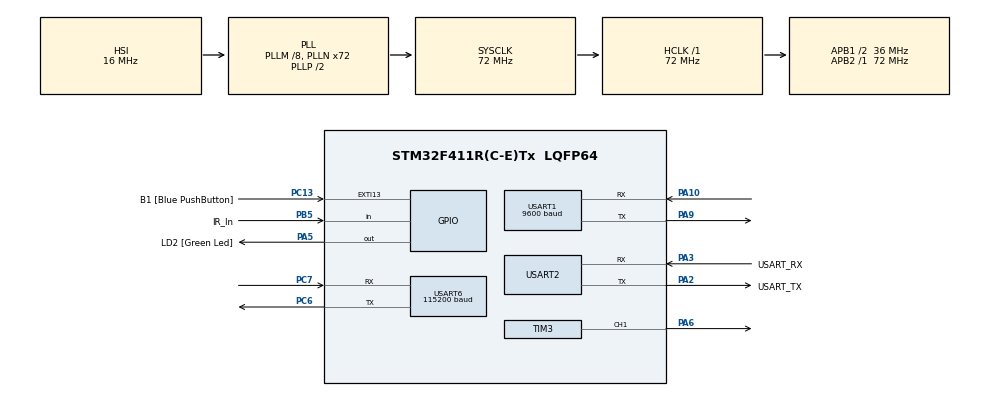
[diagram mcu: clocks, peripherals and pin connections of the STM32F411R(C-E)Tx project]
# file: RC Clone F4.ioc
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Mcu.Family=STM32F4
Mcu.Name=STM32F411R(C-E)Tx
Mcu.Package=LQFP64
NVIC.PriorityGroup=NVIC_PRIORITYGROUP_0
NVIC.TIM3_IRQn=true\:0\:0\:false\:false\:true\:true\:true
NVIC.USART1_IRQn=true\:0\:1\:false\:false\:true\:true\:true
NVIC.USART6_IRQn=true\:0\:0\:false\:false\:true\:true\:true
PA10.Mode=Asynchronous
PA10.Signal=USART1_RX
PA13.GPIO_Label=TMS
PA13.Mode=Serial_Wire
PA13.Signal=SYS_JTMS-SWDIO
PA14.GPIO_Label=TCK
PA14.Mode=Serial_Wire
PA14.Signal=SYS_JTCK-SWCLK
PA2.GPIO_Label=USART_TX
PA2.Mode=Asynchronous
PA2.Signal=USART2_TX
PA3.GPIO_Label=USART_RX
PA3.Mode=Asynchronous
PA3.Signal=USART2_RX
PA5.GPIO_Label=LD2 [Green Led]
PA5.Signal=GPIO_Output
PA6.Signal=S_TIM3_CH1
PA9.Mode=Asynchronous
PA9.Signal=USART1_TX
PB3.GPIO_Label=SWO
PB3.Signal=SYS_JTDO-SWO
PB5.GPIO_Label=IR_In
PB5.Signal=GPIO_Input
PC13-ANTI_TAMP.GPIO_Label=B1 [Blue PushButton]
PC13-ANTI_TAMP.GPIO_ModeDefaultEXTI=GPIO_MODE_IT_FALLING
PC13-ANTI_TAMP.Signal=GPXTI13
PC14-OSC32_IN.Mode=LSE-External-Oscillator
PC14-OSC32_IN.Signal=RCC_OSC32_IN
PC15-OSC32_OUT.Mode=LSE-External-Oscillator
PC15-OSC32_OUT.Signal=RCC_OSC32_OUT
PC6.Mode=Asynchronous
PC6.Signal=USART6_TX
PC7.Mode=Asynchronous
PC7.Signal=USART6_RX
PH0\ -\ OSC_IN.Mode=HSE-External-Clock-Source
PH0\ -\ OSC_IN.Signal=RCC_OSC_IN
PH1\ -\ OSC_OUT.Mode=HSE-External-Clock-Source
PH1\ -\ OSC_OUT.Signal=RCC_OSC_OUT
ProjectManager.HeapSize=0x200
ProjectManager.StackSize=0x400
ProjectManager.TargetToolchain=STM32CubeIDE
RCC.48MHZClocksFreq_Value=36000000
RCC.AHBFreq_Value=72000000
RCC.APB1CLKDivider=RCC_HCLK_DIV2
RCC.APB1Freq_Value=36000000
RCC.APB1TimFreq_Value=72000000
RCC.APB2Freq_Value=72000000
RCC.APB2TimFreq_Value=72000000
RCC.CortexFreq_Value=72000000
RCC.FLatency-AdvancedSettings=FLASH_LATENCY_2
RCC.HCLKFreq_Value=72000000
RCC.HSE_VALUE=8000000
RCC.HSI_VALUE=16000000
RCC.PLLM=8
RCC.PLLN=72
RCC.SYSCLKFreq_VALUE=72000000
RCC.SYSCLKSource=RCC_SYSCLKSOURCE_PLLCLK
RCC.VCOOutputFreq_Value=144000000
SH.S_TIM3_CH1.0=TIM3_CH1,PWM Generation1 CH1
TIM3.Channel-PWM\ Generation1\ CH1=TIM_CHANNEL_1
TIM3.Period=9
TIM3.Prescaler=99
USART1.BaudRate=9600
USART1.VirtualMode=VM_ASYNC
USART2.VirtualMode=VM_ASYNC
USART6.BaudRate=115200
USART6.Parity=PARITY_ODD
USART6.VirtualMode=VM_ASYNC
USART6.WordLength=WORDLENGTH_9B
VP_TIM3_VS_ClockSourceINT.Mode=Internal
board=NUCLEO-F411RE

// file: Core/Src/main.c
/* USER CODE BEGIN Header */
/**
 ******************************************************************************
 * @file           : main.c
 * @brief          : Main program body
 ******************************************************************************
 * @attention
 *
 * <h2><center>&copy; Copyright (c) 2020 STMicroelectronics.
 * All rights reserved.</center></h2>
 *
 * This software component is licensed by ST under BSD 3-Clause license,
 * the "License"; You may not use this file except in compliance with the
 * License. You may obtain a copy of the License at:
 *                        opensource.org/licenses/BSD-3-Clause
 *
 ******************************************************************************
 */
/* USER CODE END Header */

#include "main.h"

/* USER CODE BEGIN Includes */
#include "string.h"
#include <IR_Remote.h>
#include <stdlib.h>
/* USER CODE END Includes */

/* USER CODE BEGIN PD */
#define STR_LEN 300
#define COMMAND_COUNT 11
#define REMOTE_NAME_LEN 20
#define COMMAND_NAME_LEN 10
#define ESP_LEN 3000
/* USER CODE END PD */

TIM_HandleTypeDef htim3;

UART_HandleTypeDef huart1;
UART_HandleTypeDef huart2;
UART_HandleTypeDef huart6;

/* USER CODE BEGIN PV */
uint8_t recBuffer[1];
uint8_t customBuffer[STR_LEN];
uint8_t nextionMessageBuffer[STR_LEN];
uint8_t espRecBuffer[1];
uint8_t espBuffer[ESP_LEN];
uint8_t lastAvailableIndex = 0;
uint8_t lastAvailableEspIndex = 0;
int isBufferReady = 0;
int isEspBufferReady = 0;
int hasValidStart = 0;
int espRequest = 0;

char currentRemoteName[20];
remote_data currentRemote[COMMAND_COUNT];
full_remote_data currentRemoteFull;
part_remote_data remoteList;
HAL_StatusTypeDef status;

char currentButtonName[COMMAND_NAME_LEN];
int remoteOperation = 0;
int buttonIndex = -1;
int recName = 0;
int recSelect = 0;
/* USER CODE END PV */

void SystemClock_Config(void);
static void MX_GPIO_Init(void);
static void MX_USART2_UART_Init(void);
static void MX_TIM3_Init(void);
static void MX_USART1_UART_Init(void);
static void MX_USART6_UART_Init(void);
/* USER CODE BEGIN PFP */
void openRemote(int index);

void getRemoteListAPI();
full_remote_data getRemoteAPI(char *remoteName);

void convertCommandToLocal(int buttonIndex);
void sendNextion(char *data);
void clearRemote();
void putRemote(int isReady);
void getRemote();

/* USER CODE END PFP */

int main(void) {

	/* MCU Configuration--------------------------------------------------------*/

	/* Reset of all peripherals, Initializes the Flash interface and the Systick. */
	HAL_Init();

	/* Configure the system clock */
	SystemClock_Config();

	/* Initialize all configured peripherals */
	MX_GPIO_Init();
	MX_USART2_UART_Init();
	MX_TIM3_Init();
	MX_USART1_UART_Init();
	MX_USART6_UART_Init();
	/* USER CODE BEGIN 2 */
	HAL_TIM_Base_Start_IT(&htim3);
	HAL_UART_Receive_IT(&huart1, recBuffer, 1);
	HAL_UART_Receive_IT(&huart6, espRecBuffer, 1);

	clearRemote();
	memset(nextionMessageBuffer, 0, sizeof(nextionMessageBuffer));
	HAL_Delay(500); // Wait for nextion EEPROM
	/* USER CODE END 2 */

	/* Infinite loop */
	while (1) {

		/* USER CODE BEGIN 3 */
		// If we have valid button use it.
		if (remoteOperation > 0 && buttonIndex >= 0) {
			int opResult = 0;
			if (remoteOperation == 1) {
				opResult = sendButton(buttonIndex);
			} else if (remoteOperation == 2) {
				opResult = recButton(buttonIndex);
			}
			remoteOperation = 0;
		}

		if (recSelect && buttonIndex >= 0) {
			// TODO: Use pagination * list size + buttonIndex if using pagination...
			if (remoteList.remoteCount > buttonIndex) {
				openRemote(buttonIndex);
			}
			recSelect = 0;
		}

		if (!HAL_GPIO_ReadPin(B1_GPIO_Port, B1_Pin)) {
			// DEBUG Command
			//clearNextion();
			HAL_GPIO_TogglePin(LD2_GPIO_Port, LD2_Pin);
			HAL_Delay(500);
			HAL_GPIO_TogglePin(LD2_GPIO_Port, LD2_Pin);
			getRemoteListAPI();
			if (status == HAL_OK) {
				getRemoteAPI(remoteList.remotes[0]);
			}
		}
		HAL_Delay(500);
	}
	/* USER CODE END 3 */
}

void SystemClock_Config(void) {
	RCC_OscInitTypeDef RCC_OscInitStruct = { 0 };
	RCC_ClkInitTypeDef RCC_ClkInitStruct = { 0 };

	/** Configure the main internal regulator output voltage
	 */
	__HAL_RCC_PWR_CLK_ENABLE();
	__HAL_PWR_VOLTAGESCALING_CONFIG(PWR_REGULATOR_VOLTAGE_SCALE1);
	/** Initializes the CPU, AHB and APB busses clocks
	 */
	RCC_OscInitStruct.OscillatorType = RCC_OSCILLATORTYPE_HSI;
	RCC_OscInitStruct.HSIState = RCC_HSI_ON;
	RCC_OscInitStruct.HSICalibrationValue = RCC_HSICALIBRATION_DEFAULT;
	RCC_OscInitStruct.PLL.PLLState = RCC_PLL_ON;
	RCC_OscInitStruct.PLL.PLLSource = RCC_PLLSOURCE_HSI;
	RCC_OscInitStruct.PLL.PLLM = 8;
	RCC_OscInitStruct.PLL.PLLN = 72;
	RCC_OscInitStruct.PLL.PLLP = RCC_PLLP_DIV2;
	RCC_OscInitStruct.PLL.PLLQ = 4;
	if (HAL_RCC_OscConfig(&RCC_OscInitStruct) != HAL_OK) {
		Error_Handler();
	}
	/** Initializes the CPU, AHB and APB busses clocks
	 */
	RCC_ClkInitStruct.ClockType = RCC_CLOCKTYPE_HCLK | RCC_CLOCKTYPE_SYSCLK
			| RCC_CLOCKTYPE_PCLK1 | RCC_CLOCKTYPE_PCLK2;
	RCC_ClkInitStruct.SYSCLKSource = RCC_SYSCLKSOURCE_PLLCLK;
	RCC_ClkInitStruct.AHBCLKDivider = RCC_SYSCLK_DIV1;
	RCC_ClkInitStruct.APB1CLKDivider = RCC_HCLK_DIV2;
	RCC_ClkInitStruct.APB2CLKDivider = RCC_HCLK_DIV1;

	if (HAL_RCC_ClockConfig(&RCC_ClkInitStruct, FLASH_LATENCY_2) != HAL_OK) {
		Error_Handler();
	}
}

static void MX_TIM3_Init(void) {

	TIM_ClockConfigTypeDef sClockSourceConfig = { 0 };
	TIM_MasterConfigTypeDef sMasterConfig = { 0 };
	TIM_OC_InitTypeDef sConfigOC = { 0 };

	htim3.Instance = TIM3;
	htim3.Init.Prescaler = 99;
	htim3.Init.CounterMode = TIM_COUNTERMODE_UP;
	htim3.Init.Period = 9;
	htim3.Init.ClockDivision = TIM_CLOCKDIVISION_DIV1;
	htim3.Init.AutoReloadPreload = TIM_AUTORELOAD_PRELOAD_DISABLE;
	if (HAL_TIM_Base_Init(&htim3) != HAL_OK) {
		Error_Handler();
	}
	sClockSourceConfig.ClockSource = TIM_CLOCKSOURCE_INTERNAL;
	if (HAL_TIM_ConfigClockSource(&htim3, &sClockSourceConfig) != HAL_OK) {
		Error_Handler();
	}
	if (HAL_TIM_PWM_Init(&htim3) != HAL_OK) {
		Error_Handler();
	}
	sMasterConfig.MasterOutputTrigger = TIM_TRGO_RESET;
	sMasterConfig.MasterSlaveMode = TIM_MASTERSLAVEMODE_DISABLE;
	if (HAL_TIMEx_MasterConfigSynchronization(&htim3, &sMasterConfig)
			!= HAL_OK) {
		Error_Handler();
	}
	sConfigOC.OCMode = TIM_OCMODE_PWM1;
	sConfigOC.Pulse = 0;
	sConfigOC.OCPolarity = TIM_OCPOLARITY_HIGH;
	sConfigOC.OCFastMode = TIM_OCFAST_DISABLE;
	if (HAL_TIM_PWM_ConfigChannel(&htim3, &sConfigOC, TIM_CHANNEL_1)
			!= HAL_OK) {
		Error_Handler();
	}
	HAL_TIM_MspPostInit(&htim3);

}

static void MX_USART1_UART_Init(void) {

	huart1.Instance = USART1;
	huart1.Init.BaudRate = 9600;
	huart1.Init.WordLength = UART_WORDLENGTH_8B;
	huart1.Init.StopBits = UART_STOPBITS_1;
	huart1.Init.Parity = UART_PARITY_NONE;
	huart1.Init.Mode = UART_MODE_TX_RX;
	huart1.Init.HwFlowCtl = UART_HWCONTROL_NONE;
	huart1.Init.OverSampling = UART_OVERSAMPLING_16;
	if (HAL_UART_Init(&huart1) != HAL_OK) {
		Error_Handler();
	}

}

static void MX_USART2_UART_Init(void) {

	huart2.Instance = USART2;
	huart2.Init.BaudRate = 115200;
	huart2.Init.WordLength = UART_WORDLENGTH_8B;
	huart2.Init.StopBits = UART_STOPBITS_1;
	huart2.Init.Parity = UART_PARITY_NONE;
	huart2.Init.Mode = UART_MODE_TX_RX;
	huart2.Init.HwFlowCtl = UART_HWCONTROL_NONE;
	huart2.Init.OverSampling = UART_OVERSAMPLING_16;
	if (HAL_UART_Init(&huart2) != HAL_OK) {
		Error_Handler();
	}

}

static void MX_USART6_UART_Init(void) {

	huart6.Instance = USART6;
	huart6.Init.BaudRate = 115200;
	huart6.Init.WordLength = UART_WORDLENGTH_9B;
	huart6.Init.StopBits = UART_STOPBITS_1;
	huart6.Init.Parity = UART_PARITY_ODD;
	huart6.Init.Mode = UART_MODE_TX_RX;
	huart6.Init.HwFlowCtl = UART_HWCONTROL_NONE;
	huart6.Init.OverSampling = UART_OVERSAMPLING_16;
	if (HAL_UART_Init(&huart6) != HAL_OK) {
		Error_Handler();
	}

}

static void MX_GPIO_Init(void) {
	GPIO_InitTypeDef GPIO_InitStruct = { 0 };

	/* GPIO Ports Clock Enable */
	__HAL_RCC_GPIOC_CLK_ENABLE();
	__HAL_RCC_GPIOH_CLK_ENABLE();
	__HAL_RCC_GPIOA_CLK_ENABLE();
	__HAL_RCC_GPIOB_CLK_ENABLE();

	/*Configure GPIO pin Output Level */
	HAL_GPIO_WritePin(LD2_GPIO_Port, LD2_Pin, GPIO_PIN_RESET);

	/*Configure GPIO pin : B1_Pin */
	GPIO_InitStruct.Pin = B1_Pin;
	GPIO_InitStruct.Mode = GPIO_MODE_IT_FALLING;
	GPIO_InitStruct.Pull = GPIO_NOPULL;
	HAL_GPIO_Init(B1_GPIO_Port, &GPIO_InitStruct);

	/*Configure GPIO pin : LD2_Pin */
	GPIO_InitStruct.Pin = LD2_Pin;
	GPIO_InitStruct.Mode = GPIO_MODE_OUTPUT_PP;
	GPIO_InitStruct.Pull = GPIO_NOPULL;
	GPIO_InitStruct.Speed = GPIO_SPEED_FREQ_LOW;
	HAL_GPIO_Init(LD2_GPIO_Port, &GPIO_InitStruct);

	/*Configure GPIO pin : IR_In_Pin */
	GPIO_InitStruct.Pin = IR_In_Pin;
	GPIO_InitStruct.Mode = GPIO_MODE_INPUT;
	GPIO_InitStruct.Pull = GPIO_NOPULL;
	HAL_GPIO_Init(IR_In_GPIO_Port, &GPIO_InitStruct);

}

/* USER CODE BEGIN 4 */

void toggleSettingMode() {
	sendNextion("click b_setting,0");
	sendNextion("click b_setting,1");
}

int isCommandValid(full_command_data command) {
	return command.decode_type >= 0 && command.decode_type < 17;
}

void openRemote(int index) {
	sendNextion("page page1");
	toggleSettingMode();
	sendNextion("t0.txt=\"Please Wait. Loading Remote...\"");
	getRemoteAPI(remoteList.remotes[index]);

	if (currentRemoteFull.name[0] == remoteList.remotes[index][0]) {
		toggleSettingMode();
		char buf[100];
		sprintf(buf, "t1.txt=\"%s\"", currentRemoteFull.name);
		sendNextion(buf);
		for (int i = 0; i < COMMAND_COUNT - 1; i++) {
			if (!isCommandValid(currentRemoteFull.commands[i])) {
				continue;
			}
			sprintf(buf, "b%d.txt=\"%s\"", i,
					currentRemoteFull.commands[i].name);
			sendNextion(buf);
		}
	} else {
		sendNextion("t0.txt=\"ERROR Loading Remote. Try Again.\"");
	}
}

// CALL API Functions in main only.
void getRemoteListAPI() {
	char espMessage[100];
	sprintf(espMessage, "grl");
	HAL_UART_AbortReceive_IT(&huart6);
	HAL_UART_Transmit(&huart6, espMessage, strlen(espMessage), 2000);
	status = HAL_UART_Receive(&huart6, &espBuffer, ESP_LEN, 20000); // Maybe dont block here.
	if (status == HAL_OK) {
		memset(&remoteList, 0, sizeof(remoteList));
		memcpy(&remoteList, espBuffer, sizeof(remoteList));
	}
	HAL_UART_Receive_IT(&huart1, recBuffer, 1);
}

void convertRemoteToLocal() {
	for (int i = 0; i < COMMAND_COUNT; i++) {
		convertCommandToLocal(i);
	}
	memcpy(currentRemoteName, currentRemoteFull.name, REMOTE_NAME_LEN);
	// TODO: PUTREMOTE HERE....
}

full_remote_data getRemoteAPI(char *remoteName) {
	if (strcmp(remoteName, currentRemoteFull.name) == 0) {
		return currentRemoteFull;
	}

	char espMessage[100];
	sprintf(espMessage, "grs:%s", remoteName);
	HAL_UART_AbortReceive_IT(&huart6);
	HAL_UART_Transmit(&huart6, espMessage, strlen(espMessage), 2000);
	status = HAL_UART_Receive(&huart6, &espBuffer, ESP_LEN, 10000); // Maybe dont block here.
	memcpy(&currentRemoteFull, espBuffer, sizeof(currentRemoteFull));

	HAL_UART_Receive_IT(&huart1, recBuffer, 1);
	return currentRemoteFull;
}

void clearNextion() {
	clearRemote();
	currentRemote[0].decode_type = 13;
	sprintf(currentRemoteName, "HOOOLA");
	putRemote(0);
}

void clearRemote() {
	memset(currentRemote, 0, sizeof(currentRemote));
	for (int i = 0; i < COMMAND_COUNT; i++) {
		currentRemote[i].decode_type = UNUSED;
	}
}

void sendNextion(char *data) {
	char nextionBuf[100];
	sprintf(nextionBuf, "%s%c%c%c", data, 0xff, 0xff, 0xff);
	HAL_UART_Transmit(&huart1, nextionBuf, strlen(nextionBuf), 1000);
}

void sendRemoteToNextion() {
	char nextionBuf[1024];
	HAL_UART_Transmit(&huart1, currentRemoteName, REMOTE_NAME_LEN, 2000);
	memcpy(nextionBuf, currentRemote, sizeof(currentRemote));
	HAL_UART_Transmit(&huart1, nextionBuf, sizeof(currentRemote), 2000);
}

void putRemote(int isReady) {
	if (isReady) {
		sendRemoteToNextion();
	} else {
		char storeNextionBuf[30];
		sprintf(storeNextionBuf, "wept 0,%d",
				sizeof(currentRemote) + REMOTE_NAME_LEN);
		sendNextion(storeNextionBuf);
	}
}

void getRemote() {
	char recNextionBuf[1000];
	sprintf(recNextionBuf, "rept 0,%d",
			sizeof(currentRemote) + REMOTE_NAME_LEN);

	// Disable uart receive it temporarily.
	HAL_UART_AbortReceive_IT(&huart1);
	sendNextion(recNextionBuf);

	// Receive sync
	HAL_UART_Receive(&huart1, &recNextionBuf,
			sizeof(currentRemote) + REMOTE_NAME_LEN, 2000);
	memcpy(currentRemoteName, recNextionBuf, REMOTE_NAME_LEN);
	memcpy(currentRemote, &recNextionBuf[20], sizeof(currentRemote));

	// Continue to receive
	HAL_UART_Receive_IT(&huart1, recBuffer, 1);
	sprintf(recNextionBuf, "t1.txt=\"%s\"", currentRemoteName);
	sendNextion(recNextionBuf);
	for (int i = 0; i < COMMAND_COUNT - 1; i++) {
		sprintf(recNextionBuf, "b%d.txt=\"%s\"", i, currentRemote[i].name);
		sendNextion(recNextionBuf);
	}
}

void sendButton(int buttonIndex) {
	if (currentRemote[buttonIndex].decode_type == UNUSED) {
		// Command not loaded.
		sendNextion("t0.txt=\"Command not loaded!!!\"");
		return;
	}

	remote_data currentCommand = currentRemote[buttonIndex];
	for (int i = 0; i < 2; i++) {
		// Send twice, just in case...
		send(NULL, currentCommand.rawLen, currentCommand.value,
				currentCommand.bitLen, currentCommand.decode_type);
		HAL_Delay(50);
	}

	sendNextion("t0.txt=\"Button sent!\"");
	return;
}

void convertCommandToLocal(int buttonIndex) {
	remote_data remote;
	full_command_data currentCommand = currentRemoteFull.commands[buttonIndex];
	remote.bitLen = currentCommand.bitLen;
	remote.decode_type = currentCommand.decode_type;
	remote.rawLen = currentCommand.rawLen;
	memcpy(remote.name, currentCommand.name, sizeof(currentCommand.name))
}

void recButton(int buttonIndex) {
	my_enableIRIn();
	int i = 10; // Wait 10 sec to receive command
	while (i) {
		char nextionBuffer[100];
		sprintf(nextionBuffer, "t0.txt=\"Waiting for %d seconds...\"", i);
		sendNextion(nextionBuffer);
		if (my_decode(&results)) {
			my_disable();

			char nextionBuffer[100];
			sprintf(nextionBuffer, "t0.txt=\"PROTOCOL: %s\"",
					getProtocolString(results.decode_type));
			sendNextion(nextionBuffer);

			if (results.decode_type >= 0) {
				full_command_data command;
				command.decode_type = results.decode_type;
				command.rawLen = results.rawlen;
				command.bitLen = results.bits;
				command.value = results.value;
				command.pos = buttonIndex;
				for (int i = 0; i < command.rawLen; i++) {
					command.raw[i] = results.rawbuf[i];
				}
				memset(command.name, 0, sizeof(command.name));
				memcpy(command.name, currentButtonName,
						sizeof(currentButtonName));

				currentRemoteFull.commands[buttonIndex] = command;
				convertCommandToLocal(buttonIndex);
			}

			if (buttonIndex == 10) {
				memset(currentRemoteName, 0, sizeof(currentRemoteName));
				memcpy(currentRemoteName, currentButtonName,
						strlen(currentButtonName));
			}

			convertCommandToLocal(buttonIndex);
			putRemote(0);
			HAL_Delay(1000);
			if (buttonIndex < 10) {
				sprintf(nextionBuffer, "t0.txt=\"Button %d saved.\"",
						buttonIndex);
			} else {
				sprintf(nextionBuffer, "t0.txt=\"Master button saved.\"");
			}
			sendNextion(nextionBuffer);
			break;
		}
		HAL_Delay(1000);
		i--;
	}

	// Toggle setting back. (Touch press and release)
	toggleSettingMode();

	// No data received.
	return;
}

void HAL_UART_RxCpltCallback(UART_HandleTypeDef *huart) {
	if (huart->Instance == USART1) {
		if (isBufferReady) {
			// Cleanup old buffer, new data incoming !!!
			isBufferReady = 0;
			lastAvailableIndex = 0;
			memset(customBuffer, 0, STR_LEN);
		}

		customBuffer[lastAvailableIndex] = recBuffer[0];
		uint8_t i = lastAvailableIndex;
		lastAvailableIndex++;

		// Check if its last. Nextion uses 3 '0xff' as last (set custom buffer as available)
		if (i > 1 && customBuffer[i] == 0xff && customBuffer[i - 1] == 0xff
				&& customBuffer[i - 2] == 0xff) {
			isBufferReady = 1;
			customBuffer[i] = 0;
			customBuffer[i - 1] = 0;
			customBuffer[i - 2] = 0;
		}

		// UART Buffer Ready, Do sth.
		if (isBufferReady) {
			remoteOperation = 0;
			if (recName) {
				memset(currentButtonName, 0, sizeof(currentButtonName));
				memcpy(currentButtonName, customBuffer, strlen(customBuffer));
				remoteOperation = 2;
				recName = 0;
			} else if (strncmp("$send", customBuffer, strlen("$send")) == 0) {
				remoteOperation = 1;
			} else if (strncmp("$rec", customBuffer, strlen("$rec")) == 0) {
				recName = 1;
			} else if (strncmp("$list", customBuffer, strlen("$list")) == 0) {
				if (remoteList.remoteCount > 0) {
					for (int i = 0; i < remoteList.remoteCount; ++i) {
						if (i > 7) {
							break;
						}
						char buf[100];
						sprintf(buf, "b%d.txt=\"%s\"", i + 2,
								remoteList.remotes[i]);
						sendNextion(buf);
					}
				} else {
					sendNextion("b2.txt=\"No remote.\"");
					sendNextion("b3.txt=\"Or still loading..\"");
				}
			} else if (strncmp("$rem", customBuffer, strlen("$rem")) == 0) {
				recSelect = 1;
			} else if (customBuffer[0] == 0xfe) {
				// Nextion ready to receive data.
				putRemote(1);
			} else if (customBuffer[0] == 0xfd) {
				if (strlen(nextionMessageBuffer) > 0) {
					sendNextion(nextionMessageBuffer);
					memset(nextionMessageBuffer, 0,
							sizeof(nextionMessageBuffer));
				}
				getRemote();
			} else if (strncmp("$last", customBuffer, strlen("$last")) == 0) {
				getRemote();
			}

			if (remoteOperation == 1 || recName || recSelect) {
				// Determine which button to use for remote operation.
				buttonIndex = -1;
				uint8_t *bIndex = strchr(customBuffer, 'b');
				if (strstr(customBuffer, "master") != NULL) {
					buttonIndex = 10;
				} else {
					int i = (int) (bIndex - customBuffer) + 1;
					buttonIndex = atoi(&customBuffer[i]);
				}
			}
		}

		// Always wait for another byte
		HAL_UART_Receive_IT(&huart1, recBuffer, 1);
	} else if (huart->Instance == USART6) {
		// Always receive errors.
		HAL_UART_Receive_IT(&huart6, espRecBuffer, 1);
	}
}

/* USER CODE END 4 */

void Error_Handler(void) {
}

/************************ (C) COPYRIGHT STMicroelectronics *****END OF FILE****/
